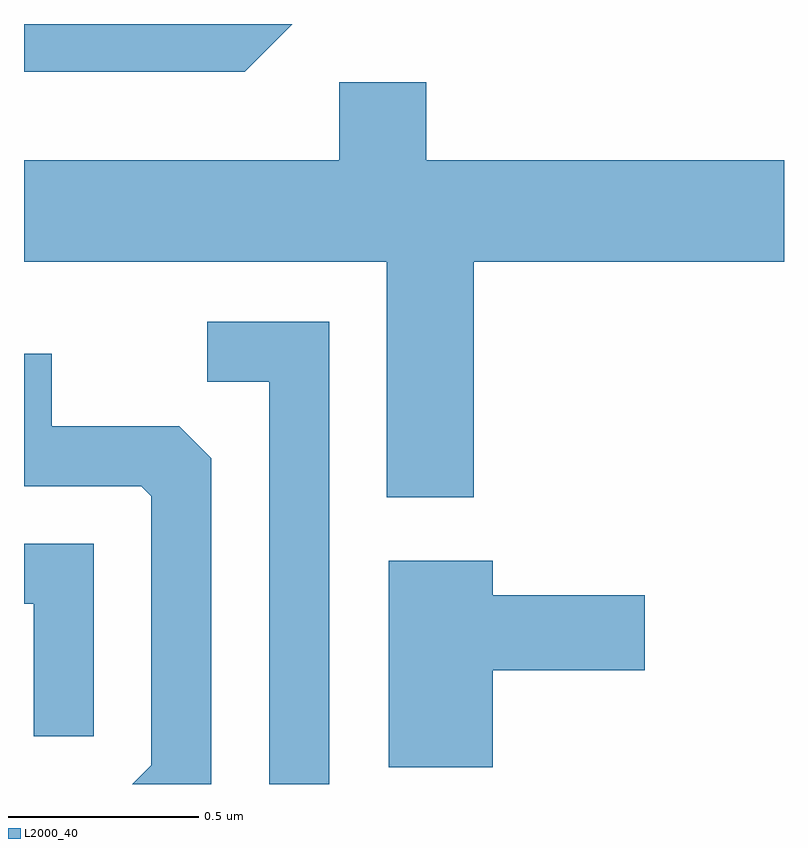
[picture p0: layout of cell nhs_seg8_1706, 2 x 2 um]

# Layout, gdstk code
import gdstk
lib = gdstk.Library(unit=1e-6, precision=1e-09)
def P(c, l, *ps):  # polygons
    for p in ps: c.add(gdstk.Polygon(p, *l))
L2000_40 = (2000, 40)

nhs_seg8_1706 = lib.new_cell('nhs_seg8_1706')
P(nhs_seg8_1706, L2000_40, [(198.317,1870.342),(197.611,1870.342),(197.611,1870.216),(198.192,1870.216)],
  [(198.794,1869.716),(199.611,1869.716),(199.611,1869.984),(198.669,1869.984),(198.669,1870.189),(198.441,1870.189),(198.441,1869.984),(197.611,1869.984),(197.611,1869.716),(198.566,1869.716),(198.566,1869.096),(198.794,1869.096)],
  [(198.414,1869.559),(198.093,1869.559),(198.093,1869.401),(198.256,1869.401),(198.256,1868.342),(198.414,1868.342)],
  [(198.104,1869.199),(198.019,1869.284),(197.684,1869.284),(197.684,1869.474),(197.611,1869.474),(197.611,1869.126),(197.919,1869.126),(197.946,1869.099),(197.946,1868.392),(197.896,1868.342),(198.104,1868.342)],
  [(197.794,1868.974),(197.611,1868.974),(197.611,1868.816),(197.636,1868.816),(197.636,1868.468),(197.794,1868.468)],
  [(198.844,1868.641),(199.244,1868.641),(199.244,1868.839),(198.844,1868.839),(198.844,1868.929),(198.571,1868.929),(198.571,1868.386),(198.844,1868.386)])

lib.write_gds('nhs_seg8_1706.gds')
